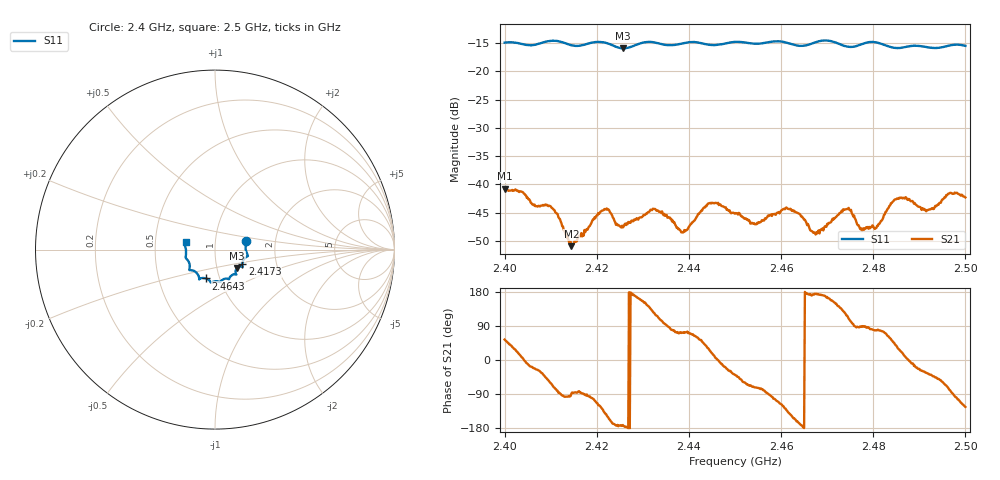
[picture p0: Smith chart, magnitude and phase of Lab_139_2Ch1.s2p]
# Hz S RI R 50
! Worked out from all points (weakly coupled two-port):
!   601 points, 2.4 GHz to 2.5 GHz, reference 50 ohm
!   highest |S21| = -40.76 dB at 2.4 GHz (marker M1); lowest = -50.9 dB at 2.4145 GHz (marker M2)
!   lowest |S11| = -15.9 dB at 2.4257 GHz (marker M3), VSWR 1.38, Z = 62.5 - j13.2 ohm
!   |S11| at or under -10 dB: start of sweep to end of sweep
!   S12 and S22 are empty: the file has one direction only
!   S11 on the Smith chart (normalised r, x): 2.4 GHz: 1.41, +0.14; 2.4173 GHz: 1.34, -0.23; 2.4643 GHz: 0.86, -0.29; 2.5 GHz: 0.72, +0.06
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2.4e9  0.1735 0.0486  0.00539 0.00742  0 0  0 0
2.410167e9  0.1837 -0.0338  0.00282 -0.00556  0 0  0 0
2.4145e9  0.163 -0.0509  6.06e-05 -0.00284  0 0  0 0
2.416667e9  0.1531 -0.0744  0.000146 -0.00371  0 0  0 0
2.417333e9  0.152 -0.0819  9.63e-06 -0.00395  0 0  0 0
2.422e9  0.1516 -0.0953  -0.00475 -0.00366  0 0  0 0
2.425667e9  0.123 -0.1026  -0.00412 -0.000617  0 0  0 0
2.433333e9  0.1128 -0.1373  -0.00223 0.00543  0 0  0 0
2.438667e9  0.0809 -0.1579  0.00117 0.00357  0 0  0 0
2.4445e9  0.0596 -0.1615  0.00618 0.00291  0 0  0 0
2.45e9  0.0283 -0.1807  0.00427 -0.00348  0 0  0 0
2.454167e9  0.00883 -0.1761  0.00141 -0.00431  0 0  0 0
2.460833e9  -0.026 -0.1795  -0.00367 -0.00479  0 0  0 0
2.464333e9  -0.05 -0.1608  -0.00517 -0.000733  0 0  0 0
2.466667e9  -0.0763 -0.1593  -0.0038 0.00066  0 0  0 0
2.474167e9  -0.0986 -0.1342  -0.00281 0.00536  0 0  0 0
2.4775e9  -0.1311 -0.1152  0.000179 0.00393  0 0  0 0
2.4805e9  -0.1431 -0.1115  0.000818 0.00401  0 0  0 0
2.483333e9  -0.1404 -0.0898  0.00291 0.00549  0 0  0 0
2.485667e9  -0.1473 -0.0655  0.00678 0.00349  0 0  0 0
2.491667e9  -0.1617 -0.0288  0.00485 -0.00334  0 0  0 0
2.5e9  -0.1632 0.0426  -0.00427 -0.00638  0 0  0 0
